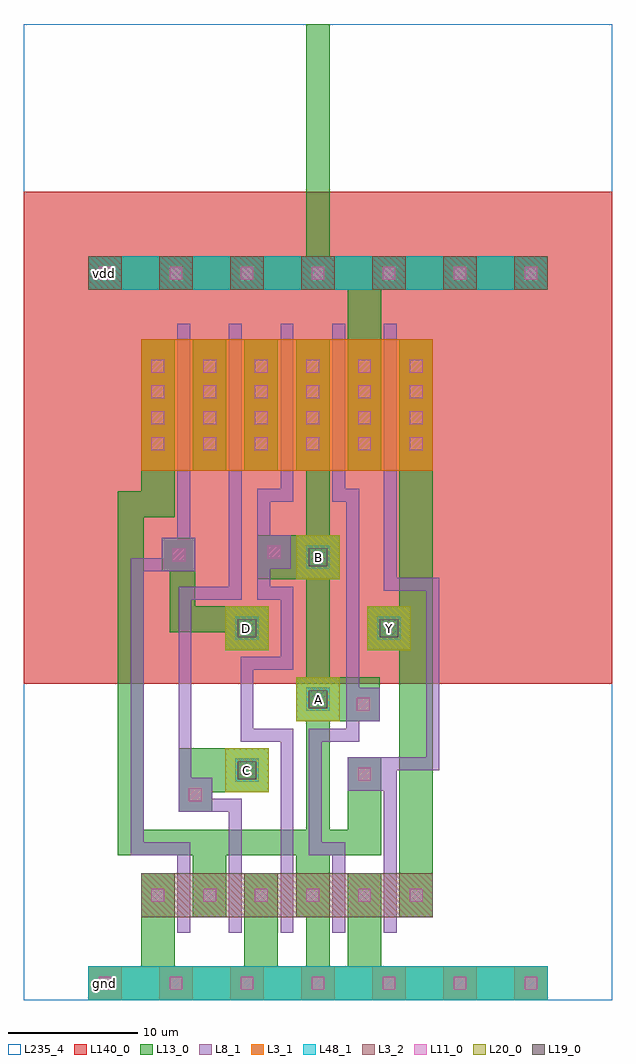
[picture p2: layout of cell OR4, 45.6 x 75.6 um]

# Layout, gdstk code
import gdstk
lib = gdstk.Library(unit=1e-6, precision=1e-09)
def R(c, l, rs):  # rectangles x0, y0, x1, y1
    for r in rs: c.add(gdstk.rectangle(r[:2], r[2:], *l))
def A(c, l, x, y, w, h, nx, ny, dx, dy):  # array of equal rectangles
    R(c, l, [(x+i*dx, y+j*dy, x+i*dx+w, y+j*dy+h) for i in range(nx) for j in range(ny)])
def P(c, l, *ps):  # polygons
    for p in ps: c.add(gdstk.Polygon(p, *l))
L3_1 = (3, 1)
L3_2 = (3, 2)
L8_1 = (8, 1)
L11_0 = (11, 0)
L13_0 = (13, 0)
L19_0 = (19, 0)
L20_0 = (20, 0)
L48_1 = (48, 1)
L140_0 = (140, 0)
L235_4 = (235, 4)

or4 = lib.new_cell('OR4')
A(or4, L3_1, 5, 0, 2.6, 2.6, 7, 1, 5.5, 0)
R(or4, L3_1, [(9.1,41,31.7,51.2)])
A(or4, L3_2, 5, 55, 2.6, 2.6, 7, 1, 5.5, 0)
R(or4, L3_2, [(9.1,6.4,31.7,9.8)])
P(or4, L8_1, [(11.9,5.2),(11.9,11.2),(8.3,11.2),(8.3,34.2),(10.7,34.2),(10.7,35.8),(11.9,35.8),(11.9,52.4),(12.9,52.4),(12.9,35.8),(13.3,35.8),(13.3,33.2),(9.3,33.2),(9.3,12.2),(12.9,12.2),(12.9,5.2)],
  [(15.9,5.2),(15.9,14.6),(12,14.6),(12,32),(15.9,32),(15.9,52.4),(16.9,52.4),(16.9,31),(13,31),(13,17.2),(14.6,17.2),(14.6,15.6),(16.9,15.6),(16.9,5.2)],
  [(19.9,5.2),(19.9,20),(16.8,20),(16.8,26.6),(19.9,26.6),(19.9,31),(18.1,31),(18.1,39.6),(19.9,39.6),(19.9,52.4),(20.9,52.4),(20.9,38.6),(19.1,38.6),(19.1,36),(20.7,36),(20.7,33.4),(19.1,33.4),(19.1,32),(20.9,32),(20.9,25.6),(17.8,25.6),(17.8,21),(20.9,21),(20.9,5.2)],
  [(23.9,5.2),(23.9,11.2),(22.1,11.2),(22.1,21),(25,21),(25,38.6),(23.9,38.6),(23.9,52.4),(24.9,52.4),(24.9,39.6),(26,39.6),(26,24.2),(27.6,24.2),(27.6,21.6),(26,21.6),(26,20),(23.1,20),(23.1,12.2),(24.9,12.2),(24.9,5.2)],
  [(27.9,5.2),(27.9,16.2),(25.1,16.2),(25.1,18.8),(31.2,18.8),(31.2,31.7),(27.9,31.7),(27.9,52.4),(28.9,52.4),(28.9,32.7),(32.2,32.7),(32.2,17.8),(28.9,17.8),(28.9,5.2)])
A(or4, L11_0, 5.8, 0.8, 1, 1, 7, 2, 5.5, 55)
A(or4, L11_0, 9.9, 42.6, 1, 1, 1, 4, 0, 2)
A(or4, L11_0, 29.9, 42.6, 1, 1, 1, 4, 0, 2)
R(or4, L11_0, [(9.9,7.6,10.9,8.6), (13.9,7.6,14.9,8.6), (13.9,7.6,14.9,8.6), (17.9,7.6,18.9,8.6), (17.9,7.6,18.9,8.6), (21.9,7.6,22.9,8.6), (21.9,7.6,22.9,8.6), (25.9,7.6,26.9,8.6), (25.9,7.6,26.9,8.6), (29.9,7.6,30.9,8.6), (12.8,15.4,13.8,16.4), (25.9,17,26.9,18), (25.8,22.4,26.8,23.4), (11.5,34,12.5,35), (18.9,34.2,19.9,35.2), (13.9,42.6,14.9,43.6), (13.9,42.6,14.9,43.6), (17.9,42.6,18.9,43.6), (17.9,42.6,18.9,43.6), (21.9,42.6,22.9,43.6), (21.9,42.6,22.9,43.6), (25.9,42.6,26.9,43.6), (25.9,42.6,26.9,43.6), (13.9,44.6,14.9,45.6), (13.9,44.6,14.9,45.6), (17.9,44.6,18.9,45.6), (17.9,44.6,18.9,45.6), (21.9,44.6,22.9,45.6), (21.9,44.6,22.9,45.6), (25.9,44.6,26.9,45.6), (25.9,44.6,26.9,45.6), (13.9,46.6,14.9,47.6), (13.9,46.6,14.9,47.6), (17.9,46.6,18.9,47.6), (17.9,46.6,18.9,47.6), (21.9,46.6,22.9,47.6), (21.9,46.6,22.9,47.6), (25.9,46.6,26.9,47.6), (25.9,46.6,26.9,47.6), (13.9,48.6,14.9,49.6), (13.9,48.6,14.9,49.6), (17.9,48.6,18.9,49.6), (17.9,48.6,18.9,49.6), (21.9,48.6,22.9,49.6), (21.9,48.6,22.9,49.6), (25.9,48.6,26.9,49.6), (25.9,48.6,26.9,49.6)])
R(or4, L13_0, [(13.1,41,15.7,51.2), (17.1,41,19.7,51.2)])
P(or4, L13_0, [(12,14.6),(12,19.5),(19,19.5),(19,16.1),(14.6,16.1),(14.6,14.6)],
  [(15.6,27.1),(15.6,28.5),(11.3,28.5),(11.3,33.2),(10.7,33.2),(10.7,35.8),(13.3,35.8),(13.3,30.5),(19,30.5),(19,27.1)],
  [(5,0),(5,2.6),(9.1,2.6),(9.1,9.8),(11.7,9.8),(11.7,2.6),(17.1,2.6),(17.1,9.8),(19.7,9.8),(19.7,2.6),(21.9,2.6),(21.9,6.4),(21.1,6.4),(21.1,11.2),(15.7,11.2),(15.7,6.4),(13.1,6.4),(13.1,11.2),(7.3,11.2),(7.3,39.4),(9.1,39.4),(9.1,51.2),(11.7,51.2),(11.7,37.4),(9.3,37.4),(9.3,13.2),(21.9,13.2),(21.9,21.6),(21.1,21.6),(21.1,25),(21.9,25),(21.9,32.6),(18.1,32.6),(18.1,36),(21.9,36),(21.9,41),(21.1,41),(21.1,51.2),(23.7,51.2),(23.7,36),(24.5,36),(24.5,32.6),(23.7,32.6),(23.7,25),(27.6,25),(27.6,21.6),(23.7,21.6),(23.7,13.2),(25.1,13.2),(25.1,18.8),(27.7,18.8),(27.7,11.2),(23.7,11.2),(23.7,2.6),(25.1,2.6),(25.1,9.8),(27.7,9.8),(27.7,2.6),(40.6,2.6),(40.6,0)],
  [(29.1,6.4),(29.1,27.1),(26.6,27.1),(26.6,30.5),(29.1,30.5),(29.1,51.2),(31.7,51.2),(31.7,6.4)],
  [(25.1,41),(25.1,55),(5,55),(5,57.6),(21.9,57.6),(21.9,75.6),(23.7,75.6),(23.7,57.6),(40.6,57.6),(40.6,55),(27.7,55),(27.7,41)])
R(or4, L19_0, [(16.6,17.1,18,18.5), (22.1,22.6,23.5,24), (16.6,28.1,18,29.5), (27.6,28.1,29,29.5), (22.1,33.6,23.5,35)])
R(or4, L20_0, [(15.6,16.1,19,19.5), (21.1,21.6,24.5,25), (15.6,27.1,19,30.5), (26.6,27.1,30,30.5), (21.1,32.6,24.5,36)])
R(or4, L48_1, [(5,0,40.6,2.6), (16.4,16.9,18.2,18.7), (21.9,22.4,23.7,24.2), (16.4,27.9,18.2,29.7), (27.4,27.9,29.2,29.7), (21.9,33.4,23.7,35.2), (5,55,40.6,57.6)])
R(or4, L140_0, [(0,24.5,45.6,62.6)])
R(or4, L235_4, [(0,0,45.6,75.6)])
or4.add(gdstk.Label('A', (22.8,23.3), layer=48, texttype=0))
or4.add(gdstk.Label('B', (22.8,34.3), layer=48, texttype=0))
or4.add(gdstk.Label('C', (17.3,17.8), layer=48, texttype=0))
or4.add(gdstk.Label('D', (17.3,28.8), layer=48, texttype=0))
or4.add(gdstk.Label('Y', (28.3,28.8), layer=48, texttype=0))
or4.add(gdstk.Label('vdd', (6.3,56.3), layer=48, texttype=0))
or4.add(gdstk.Label('gnd', (6.3,1.3), layer=48, texttype=0))
or4.add(gdstk.Label('A', (22.8,23.3), layer=49, texttype=0))
or4.add(gdstk.Label('B', (22.8,34.3), layer=49, texttype=0))
or4.add(gdstk.Label('C', (17.3,17.8), layer=49, texttype=0))
or4.add(gdstk.Label('D', (17.3,28.8), layer=49, texttype=0))
or4.add(gdstk.Label('Y', (28.3,28.8), layer=49, texttype=0))

lib.write_gds('OR4.gds')
